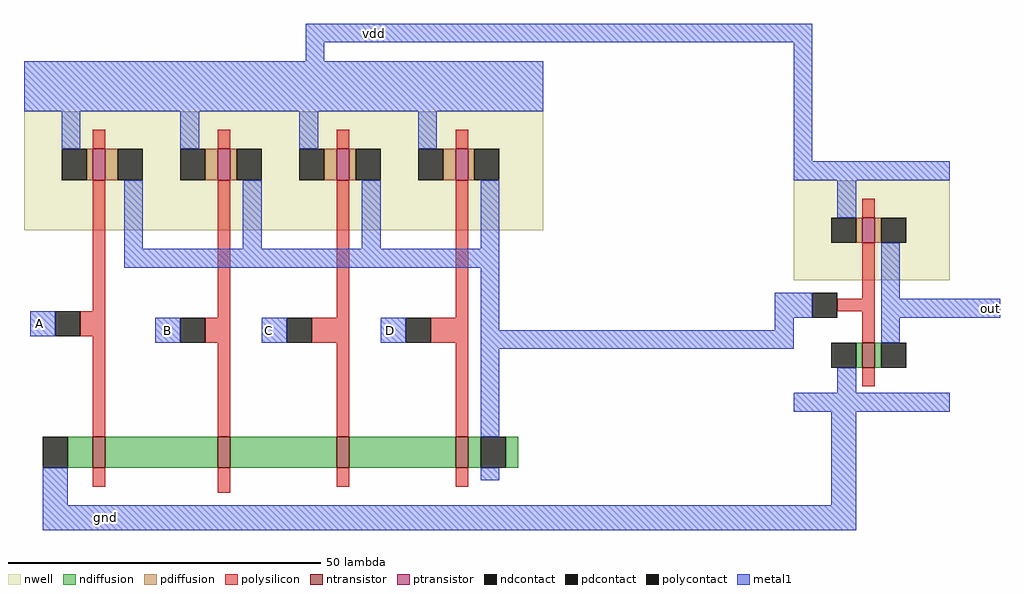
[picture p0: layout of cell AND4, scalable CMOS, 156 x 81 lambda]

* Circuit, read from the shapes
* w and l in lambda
.subckt AND4 A B C D gnd out vdd
M1 n1 A gnd VSUBS nfet w=5 l=2
M2 n2 B n1 VSUBS nfet w=5 l=2
M3 n3 C n2 VSUBS nfet w=5 l=2
M4 not_0/in D n3 VSUBS nfet w=5 l=2
M5 out not_0/in gnd VSUBS nfet w=4 l=2
M6 not_0/in A vdd n4 pfet w=5 l=2
M7 not_0/in B vdd n4 pfet w=5 l=2
M8 not_0/in C vdd n4 pfet w=5 l=2
M9 not_0/in D vdd n4 pfet w=5 l=2
M10 out not_0/in vdd n5 pfet w=4 l=2
.ends

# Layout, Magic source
magic
tech scmos
<< nwell >>
rect -27 2 56 21
<< ntransistor >>
rect -16 -36 -14 -31
rect 4 -36 6 -31
rect 23 -36 25 -31
rect 42 -36 44 -31
<< ptransistor >>
rect -16 10 -14 15
rect 4 10 6 15
rect 23 10 25 15
rect 42 10 44 15
<< ndiffusion >>
rect -20 -36 -16 -31
rect -14 -36 4 -31
rect 6 -36 23 -31
rect 25 -36 42 -31
rect 44 -36 46 -31
rect 50 -36 52 -31
<< pdiffusion >>
rect -17 10 -16 15
rect -14 10 -12 15
rect 2 10 4 15
rect 6 10 7 15
rect 21 10 23 15
rect 25 10 26 15
rect 40 10 42 15
rect 44 10 45 15
<< ndcontact >>
rect -24 -36 -20 -31
rect 46 -36 50 -31
<< pdcontact >>
rect -21 10 -17 15
rect -12 10 -8 15
rect -2 10 2 15
rect 7 10 11 15
rect 17 10 21 15
rect 26 10 30 15
rect 36 10 40 15
rect 45 10 49 15
<< polysilicon >>
rect -16 15 -14 18
rect 4 15 6 18
rect 23 15 25 18
rect 42 15 44 18
rect -16 -11 -14 10
rect -18 -15 -14 -11
rect 4 -12 6 10
rect 23 -12 25 10
rect 42 -12 44 10
rect -16 -31 -14 -15
rect 2 -16 6 -12
rect 19 -16 25 -12
rect 38 -16 44 -12
rect 4 -31 6 -16
rect 23 -31 25 -16
rect 42 -31 44 -16
rect -16 -39 -14 -36
rect 4 -40 6 -36
rect 23 -39 25 -36
rect 42 -39 44 -36
<< polycontact >>
rect -22 -15 -18 -11
rect -2 -16 2 -12
rect 15 -16 19 -12
rect 34 -16 38 -12
<< metal1 >>
rect 18 32 99 35
rect 18 29 21 32
rect -27 21 56 29
rect -21 15 -18 21
rect -2 15 1 21
rect 17 15 20 21
rect 36 15 39 21
rect 96 10 99 32
rect -11 -1 -8 10
rect 8 -1 11 10
rect 27 -1 30 10
rect 46 -1 49 10
rect -11 -4 49 -1
rect -26 -15 -22 -11
rect -6 -16 -2 -12
rect 11 -16 15 -12
rect 30 -16 34 -12
rect 46 -14 49 -4
rect 93 -10 98 -8
rect 93 -12 99 -10
rect 118 -12 129 -9
rect 93 -14 96 -12
rect 46 -17 96 -14
rect 46 -31 49 -17
rect -24 -42 -20 -36
rect 46 -38 49 -36
rect 102 -42 106 -27
rect -24 -46 106 -42
use not  not_0
transform 1 0 105 0 1 -7
box -9 -20 16 20
<< labels >>
rlabel metal1 -16 -45 -12 -43 1 gnd
rlabel metal1 26 33 32 34 5 vdd
rlabel metal1 -25 -14 -24 -12 3 A
rlabel metal1 -5 -15 -3 -13 1 B
rlabel metal1 11 -15 13 -13 1 C
rlabel metal1 31 -15 32 -13 1 D
rlabel metal1 127 -11 128 -10 7 out
<< end >>

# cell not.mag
magic
tech scmos
<< nwell >>
rect -9 1 16 17
<< ntransistor >>
rect 2 -13 4 -9
<< ptransistor >>
rect 2 7 4 11
<< ndiffusion >>
rect 1 -13 2 -9
rect 4 -13 5 -9
<< pdiffusion >>
rect 1 7 2 11
rect 4 7 5 11
<< ndcontact >>
rect -3 -13 1 -9
rect 5 -13 9 -9
<< pdcontact >>
rect -3 7 1 11
rect 5 7 9 11
<< polysilicon >>
rect 2 11 4 14
rect 2 -2 4 7
rect -2 -4 4 -2
rect 2 -9 4 -4
rect 2 -16 4 -13
<< polycontact >>
rect -6 -5 -2 -1
<< metal1 >>
rect -9 17 16 20
rect -2 11 1 17
rect -8 -5 -6 -1
rect 5 -2 8 7
rect 5 -5 16 -2
rect 5 -9 8 -5
rect -2 -17 1 -13
rect -9 -20 16 -17
<< labels >>
rlabel metal1 -5 18 -3 19 4 VDD
rlabel metal1 -8 -4 -7 -2 3 in
rlabel metal1 13 -4 15 -3 7 out
rlabel metal1 -2 -19 0 -18 1 gnd
<< end >>
